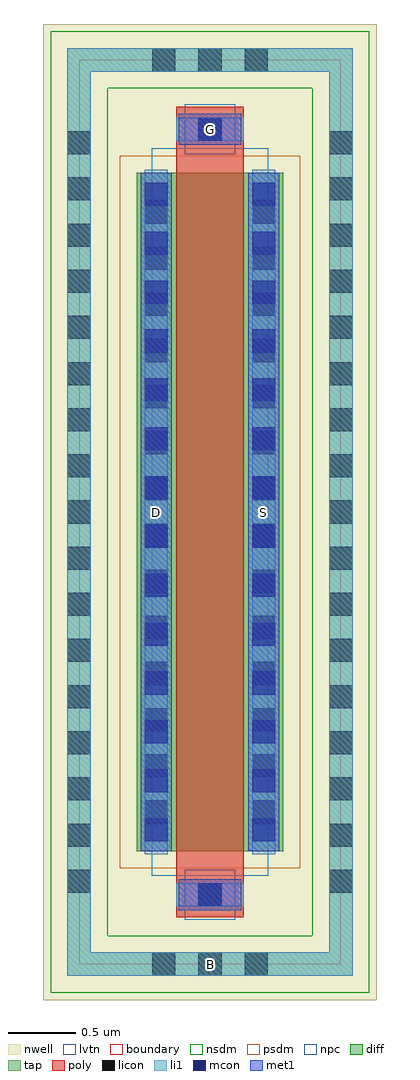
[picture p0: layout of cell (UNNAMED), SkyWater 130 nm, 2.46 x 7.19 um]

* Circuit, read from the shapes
.subckt (UNNAMED) B D G S
XM1 S G D B sky130_fd_pr__pfet_01v8_lvt w=5 l=0.5
.ends

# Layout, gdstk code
import gdstk
lib = gdstk.Library(unit=1e-6, precision=1e-09)
def R(c, l, rs):  # rectangles x0, y0, x1, y1
    for r in rs: c.add(gdstk.rectangle(r[:2], r[2:], *l))
def A(c, l, x, y, w, h, nx, ny, dx, dy):  # array of equal rectangles
    R(c, l, [(x+i*dx, y+j*dy, x+i*dx+w, y+j*dy+h) for i in range(nx) for j in range(ny)])
nwell = (64, 20)
diff = (65, 20)
tap = (65, 44)
poly = (66, 20)
licon = (66, 44)
li1 = (67, 20)
mcon = (67, 44)
met1 = (68, 20)
nsdm = (93, 44)
psdm = (94, 20)
npc = (95, 20)
lvtn = (125, 44)
boundary = (235, 4)

c__unnamed_ = lib.new_cell('(UNNAMED)')
R(c__unnamed_, nwell, [(-1.23,-3.595,1.23,3.595)])
R(c__unnamed_, diff, [(-0.54,-2.5,0.54,2.5)])
R(c__unnamed_, tap, [(-1.05,-3.415,1.05,-3.245), (-1.05,-3.245,-0.88,3.245), (0.88,-3.245,1.05,3.245), (-1.05,3.245,1.05,3.415)])
R(c__unnamed_, poly, [(-0.25,-2.985,0.25,2.985)])
A(c__unnamed_, licon, -0.425, -3.415, 0.17, 0.17, 3, 2, 0.34, 6.66)
A(c__unnamed_, licon, -1.05, -2.805, 0.17, 0.17, 1, 17, 0, 0.34)
A(c__unnamed_, licon, 0.88, -2.805, 0.17, 0.17, 1, 17, 0, 0.34)
A(c__unnamed_, licon, -0.48, -2.295, 0.17, 0.17, 1, 14, 0, 0.34)
A(c__unnamed_, licon, 0.31, -2.295, 0.17, 0.17, 1, 14, 0, 0.34)
R(c__unnamed_, licon, [(-0.085,-2.905,0.085,-2.735), (-0.085,2.735,0.085,2.905)])
R(c__unnamed_, li1, [(-1.05,-3.415,1.05,-3.245), (-1.05,-3.245,-0.88,3.245), (0.88,-3.245,1.05,3.245), (-0.25,-2.905,0.25,-2.735), (-0.48,-2.52,-0.31,2.52), (0.31,-2.52,0.48,2.52), (-0.25,2.735,0.25,2.905), (-1.05,3.245,1.05,3.415)])
A(c__unnamed_, mcon, -0.48, -2.425, 0.17, 0.17, 1, 14, 0, 0.36)
A(c__unnamed_, mcon, 0.31, -2.425, 0.17, 0.17, 1, 14, 0, 0.36)
R(c__unnamed_, mcon, [(-0.085,-2.905,0.085,-2.735), (-0.085,2.735,0.085,2.905)])
R(c__unnamed_, met1, [(-0.23,-2.935,0.23,-2.705), (-0.51,-2.5,-0.28,2.5), (0.28,-2.5,0.51,2.5), (-0.23,2.705,0.23,2.935)])
R(c__unnamed_, nsdm, [(-1.175,-3.54,1.175,-3.12), (-1.175,-3.12,-0.755,3.12), (0.755,-3.12,1.175,3.12), (-1.175,3.12,1.175,3.54)])
R(c__unnamed_, psdm, [(-0.665,-2.625,0.665,2.625)])
R(c__unnamed_, npc, [(-0.185,-3.005,0.185,-2.635), (-0.185,2.635,0.185,3.005)])
R(c__unnamed_, lvtn, [(-0.43,-2.68,0.43,2.68)])
R(c__unnamed_, boundary, [(-0.965,-3.33,0.965,3.33)])
c__unnamed_.add(gdstk.Label('B', (0,-3.33), layer=67, texttype=5))
c__unnamed_.add(gdstk.Label('D', (-0.395,0), layer=67, texttype=5))
c__unnamed_.add(gdstk.Label('S', (0.395,0), layer=67, texttype=5))
c__unnamed_.add(gdstk.Label('G', (0,2.82), layer=67, texttype=5))

lib.write_gds('_UNNAMED_.gds')
